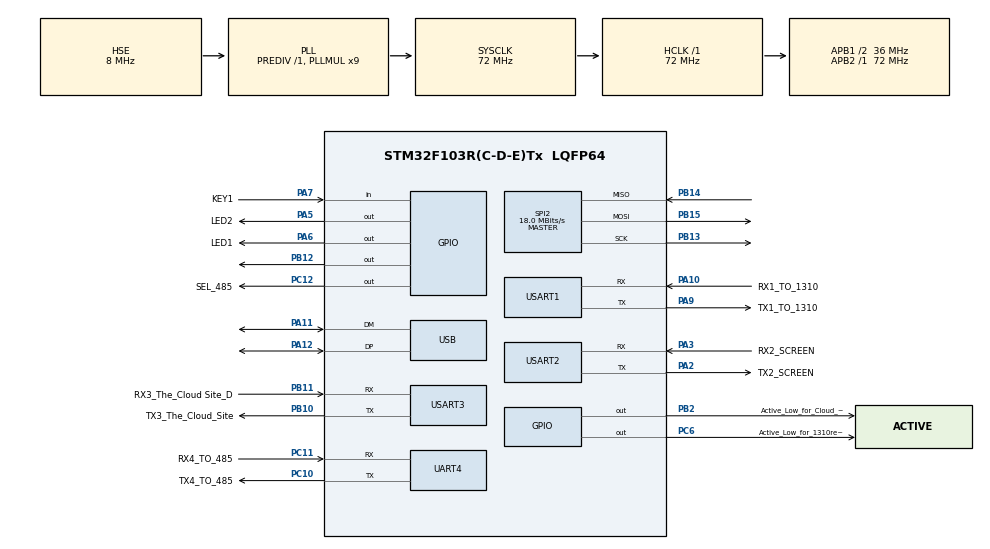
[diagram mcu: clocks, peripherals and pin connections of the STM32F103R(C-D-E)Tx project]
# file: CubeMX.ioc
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Dma.Request0=USART1_RX
Dma.Request1=USART1_TX
Dma.Request2=USART3_RX
Dma.Request3=USART3_TX
Dma.Request4=USART2_RX
Dma.Request5=USART2_TX
Dma.USART1_RX.0.Direction=DMA_PERIPH_TO_MEMORY
Dma.USART1_RX.0.Instance=DMA1_Channel5
Dma.USART1_RX.0.MemDataAlignment=DMA_MDATAALIGN_BYTE
Dma.USART1_RX.0.MemInc=DMA_MINC_ENABLE
Dma.USART1_RX.0.Mode=DMA_NORMAL
Dma.USART1_RX.0.PeriphDataAlignment=DMA_PDATAALIGN_BYTE
Dma.USART1_RX.0.PeriphInc=DMA_PINC_DISABLE
Dma.USART1_RX.0.Priority=DMA_PRIORITY_MEDIUM
Dma.USART1_TX.1.Direction=DMA_MEMORY_TO_PERIPH
Dma.USART1_TX.1.Instance=DMA1_Channel4
Dma.USART1_TX.1.MemDataAlignment=DMA_MDATAALIGN_BYTE
Dma.USART1_TX.1.MemInc=DMA_MINC_ENABLE
Dma.USART1_TX.1.Mode=DMA_NORMAL
Dma.USART1_TX.1.PeriphDataAlignment=DMA_PDATAALIGN_BYTE
Dma.USART1_TX.1.PeriphInc=DMA_PINC_DISABLE
Dma.USART1_TX.1.Priority=DMA_PRIORITY_MEDIUM
Dma.USART2_RX.4.Direction=DMA_PERIPH_TO_MEMORY
Dma.USART2_RX.4.Instance=DMA1_Channel6
Dma.USART2_RX.4.MemDataAlignment=DMA_MDATAALIGN_BYTE
Dma.USART2_RX.4.MemInc=DMA_MINC_ENABLE
Dma.USART2_RX.4.Mode=DMA_NORMAL
Dma.USART2_RX.4.PeriphDataAlignment=DMA_PDATAALIGN_BYTE
Dma.USART2_RX.4.PeriphInc=DMA_PINC_DISABLE
Dma.USART2_RX.4.Priority=DMA_PRIORITY_HIGH
Dma.USART2_TX.5.Direction=DMA_MEMORY_TO_PERIPH
Dma.USART2_TX.5.Instance=DMA1_Channel7
Dma.USART2_TX.5.MemDataAlignment=DMA_MDATAALIGN_BYTE
Dma.USART2_TX.5.MemInc=DMA_MINC_ENABLE
Dma.USART2_TX.5.Mode=DMA_NORMAL
Dma.USART2_TX.5.PeriphDataAlignment=DMA_PDATAALIGN_BYTE
Dma.USART2_TX.5.PeriphInc=DMA_PINC_DISABLE
Dma.USART2_TX.5.Priority=DMA_PRIORITY_HIGH
Dma.USART3_RX.2.Direction=DMA_PERIPH_TO_MEMORY
Dma.USART3_RX.2.Instance=DMA1_Channel3
Dma.USART3_RX.2.MemDataAlignment=DMA_MDATAALIGN_BYTE
Dma.USART3_RX.2.MemInc=DMA_MINC_ENABLE
Dma.USART3_RX.2.Mode=DMA_NORMAL
Dma.USART3_RX.2.PeriphDataAlignment=DMA_PDATAALIGN_BYTE
Dma.USART3_RX.2.PeriphInc=DMA_PINC_DISABLE
Dma.USART3_RX.2.Priority=DMA_PRIORITY_LOW
Dma.USART3_TX.3.Direction=DMA_MEMORY_TO_PERIPH
Dma.USART3_TX.3.Instance=DMA1_Channel2
Dma.USART3_TX.3.MemDataAlignment=DMA_MDATAALIGN_BYTE
Dma.USART3_TX.3.MemInc=DMA_MINC_ENABLE
Dma.USART3_TX.3.Mode=DMA_NORMAL
Dma.USART3_TX.3.PeriphDataAlignment=DMA_PDATAALIGN_BYTE
Dma.USART3_TX.3.PeriphInc=DMA_PINC_DISABLE
Dma.USART3_TX.3.Priority=DMA_PRIORITY_LOW
FATFS._MAX_SS=4096
FATFS._MIN_SS=512
FATFS._VOLUMES=1
FREERTOS.Tasks01=IWDG,2,128,Start_IWDG,Default,NULL,Dynamic,NULL,NULL;SCREEN_OPT,3,128,Start_Screen_Opt,Default,NULL,Dynamic,NULL,NULL;SX1310_OPT,-3,128,Start_SX1310_Opt,Default,NULL,Dynamic,NULL,NULL;UPDATE_CLOUD,-3,128,Start_Update_Cloud,Default,NULL,Dynamic,NULL,NULL;RS485_OPT,-3,128,Start_RS485_Opt,Default,NULL,Dynamic,NULL,NULL;RTC_UPDATE,-3,128,Start_RTC_Update,Default,NULL,Dynamic,NULL,NULL
FREERTOS.configTOTAL_HEAP_SIZE=10240
IWDG.Prescaler=IWDG_PRESCALER_64
IWDG.Reload=625*6
Mcu.Family=STM32F1
Mcu.Name=STM32F103R(C-D-E)Tx
Mcu.Package=LQFP64
NVIC.DMA1_Channel2_IRQn=true\:5\:0\:false\:false\:true\:true\:false\:true
NVIC.DMA1_Channel3_IRQn=true\:5\:0\:false\:false\:true\:true\:false\:true
NVIC.DMA1_Channel4_IRQn=true\:5\:0\:false\:false\:true\:true\:false\:true
NVIC.DMA1_Channel5_IRQn=true\:5\:0\:false\:false\:true\:true\:false\:true
NVIC.DMA1_Channel6_IRQn=true\:5\:0\:false\:false\:true\:true\:false\:true
NVIC.DMA1_Channel7_IRQn=true\:5\:0\:false\:false\:true\:true\:false\:true
NVIC.PriorityGroup=NVIC_PRIORITYGROUP_4
NVIC.SPI2_IRQn=true\:5\:0\:false\:false\:true\:true\:true\:true
NVIC.TIM1_UP_IRQn=true\:0\:0\:false\:false\:true\:false\:false\:true
NVIC.TIM6_IRQn=true\:5\:0\:true\:false\:true\:true\:true\:true
NVIC.TimeBase=TIM1_UP_IRQn
NVIC.TimeBaseIP=TIM1
NVIC.UART4_IRQn=true\:5\:0\:false\:false\:true\:true\:true\:true
NVIC.USART1_IRQn=true\:5\:0\:false\:false\:true\:true\:true\:true
NVIC.USART2_IRQn=true\:5\:0\:false\:false\:true\:true\:true\:true
NVIC.USART3_IRQn=true\:5\:0\:false\:false\:true\:true\:true\:true
NVIC.USB_LP_CAN1_RX0_IRQn=true\:6\:0\:true\:false\:true\:true\:false\:true
PA10.GPIO_Label=RX1_TO_1310
PA10.Mode=Asynchronous
PA10.Signal=USART1_RX
PA11.Mode=Device
PA11.Signal=USB_DM
PA12.Mode=Device
PA12.Signal=USB_DP
PA13.Mode=Serial_Wire
PA13.Signal=SYS_JTMS-SWDIO
PA14.Mode=Serial_Wire
PA14.Signal=SYS_JTCK-SWCLK
PA2.GPIO_Label=TX2_SCREEN
PA2.Mode=Asynchronous
PA2.Signal=USART2_TX
PA3.GPIO_Label=RX2_SCREEN
PA3.Mode=Asynchronous
PA3.Signal=USART2_RX
PA5.GPIO_Label=LED2
PA5.Signal=GPIO_Output
PA6.GPIO_Label=LED1
PA6.Signal=GPIO_Output
PA7.GPIO_Label=KEY1
PA7.GPIO_PuPd=GPIO_PULLUP
PA7.Signal=GPIO_Input
PA9.GPIO_Label=TX1_TO_1310
PA9.Mode=Asynchronous
PA9.Signal=USART1_TX
PB10.GPIO_Label=TX3_The_Cloud_Site
PB10.Mode=Asynchronous
PB10.Signal=USART3_TX
PB11.GPIO_Label=RX3_The_Cloud Site_D
PB11.Mode=Asynchronous
PB11.Signal=USART3_RX
PB12.Signal=GPIO_Output
PB13.Mode=Full_Duplex_Master
PB13.Signal=SPI2_SCK
PB14.Mode=Full_Duplex_Master
PB14.Signal=SPI2_MISO
PB15.Mode=Full_Duplex_Master
PB15.Signal=SPI2_MOSI
PB2.GPIO_Label=Active_Low_for_Cloud_rest
PB2.Signal=GPIO_Output
PC10.GPIO_Label=TX4_TO_485
PC10.Mode=Asynchronous
PC10.Signal=UART4_TX
PC11.GPIO_Label=RX4_TO_485
PC11.Mode=Asynchronous
PC11.Signal=UART4_RX
PC12.GPIO_Label=SEL_485
PC12.Signal=GPIO_Output
PC14-OSC32_IN.Mode=LSE-External-Oscillator
PC14-OSC32_IN.Signal=RCC_OSC32_IN
PC15-OSC32_OUT.Mode=LSE-External-Oscillator
PC15-OSC32_OUT.Signal=RCC_OSC32_OUT
PC6.GPIO_Label=Active_Low_for_1310rest
PC6.Signal=GPIO_Output
PD0-OSC_IN.Mode=HSE-External-Oscillator
PD0-OSC_IN.Signal=RCC_OSC_IN
PD1-OSC_OUT.Mode=HSE-External-Oscillator
PD1-OSC_OUT.Signal=RCC_OSC_OUT
ProjectManager.HeapSize=0x1200
ProjectManager.StackSize=0x2000
ProjectManager.TargetToolchain=EWARM V8.32
RCC.AHBFreq_Value=72000000
RCC.APB1CLKDivider=RCC_HCLK_DIV2
RCC.APB1Freq_Value=36000000
RCC.APB1TimFreq_Value=72000000
RCC.APB2Freq_Value=72000000
RCC.APB2TimFreq_Value=72000000
RCC.EnbaleCSS=true
RCC.HCLKFreq_Value=72000000
RCC.PLLMUL=RCC_PLL_MUL9
RCC.PLLSourceVirtual=RCC_PLLSOURCE_HSE
RCC.RTCClockSelection=RCC_RTCCLKSOURCE_LSE
RCC.SYSCLKFreq_VALUE=72000000
RCC.SYSCLKSource=RCC_SYSCLKSOURCE_PLLCLK
RCC.USBFreq_Value=48000000
RCC.USBPrescaler=RCC_USBCLKSOURCE_PLL_DIV1_5
RTC.Format=RTC_FORMAT_BCD
SPI2.CLKPhase=SPI_PHASE_2EDGE
SPI2.CLKPolarity=SPI_POLARITY_HIGH
SPI2.CalculateBaudRate=18.0 MBits/s
SPI2.Direction=SPI_DIRECTION_2LINES
SPI2.Mode=SPI_MODE_MASTER
SPI2.VirtualType=VM_MASTER
TIM6.AutoReloadPreload=TIM_AUTORELOAD_PRELOAD_ENABLE
TIM6.Period=65535
TIM6.Prescaler=71
UART4.VirtualMode=Asynchronous
USART1.VirtualMode=VM_ASYNC
USART2.VirtualMode=VM_ASYNC
USART3.VirtualMode=VM_ASYNC
USB.low_power_enable=DISABLE
USB_DEVICE.CLASS_NAME_FS=MSC
USB_DEVICE.VirtualMode=Msc
USB_DEVICE.VirtualModeFS=Msc_FS
VP_FATFS_VS_Generic.Mode=User_defined
VP_FREERTOS_VS_CMSIS_V1.Mode=CMSIS_V1
VP_IWDG_VS_IWDG.Mode=IWDG_Activate
VP_RTC_VS_RTC_Activate.Mode=RTC_Enabled
VP_SYS_VS_tim1.Mode=TIM1
VP_TIM6_VS_ClockSourceINT.Mode=Enable_Timer
VP_USB_DEVICE_VS_USB_DEVICE_MSC_FS.Mode=MSC_FS
board=custom

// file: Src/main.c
/* USER CODE BEGIN Header */
/**
  ******************************************************************************
  * @file           : main.c
  * @brief          : Main program body
  ******************************************************************************
  * @attention
  *
  * <h2><center>&copy; Copyright (c) 2019 STMicroelectronics.
  * All rights reserved.</center></h2>
  *
  * This software component is licensed by ST under Ultimate Liberty license
  * SLA0044, the "License"; You may not use this file except in compliance with
  * the License. You may obtain a copy of the License at:
  *                             www.st.com/SLA0044
  *
  ******************************************************************************
  */
/* USER CODE END Header */

#include "main.h"
#include "cmsis_os.h"
#include "dma.h"
#include "fatfs.h"
#include "iwdg.h"
#include "rtc.h"
#include "spi.h"
#include "tim.h"
#include "usart.h"
#include "usb_device.h"
#include "gpio.h"

/* USER CODE BEGIN Includes */
#include "screen_com.h"
/* USER CODE END Includes */

void SystemClock_Config(void);
void MX_FREERTOS_Init(void);

int main(void)
{

  /* MCU Configuration--------------------------------------------------------*/

  /* Reset of all peripherals, Initializes the Flash interface and the Systick. */
  HAL_Init();

  /* Configure the system clock */
  SystemClock_Config();

  /* Initialize all configured peripherals */
  MX_GPIO_Init();
  MX_DMA_Init();
  MX_RTC_Init();
  MX_USART1_UART_Init();
  MX_USART2_UART_Init();
  MX_USART3_UART_Init();
  MX_UART4_Init();
  MX_SPI2_Init();
  //MX_IWDG_Init();
  MX_TIM6_Init();
  /* USER CODE BEGIN 2 */
    /* init code for USB_DEVICE */
  MX_USB_DEVICE_Init();

  /* init code for FATFS */
  MX_FATFS_Init();

  if(HAL_RTCEx_BKUPRead(&hrtc,RTC_BKP_DR5) != 0X6066)//是否第一次配置
  {
    RTC_Set_Time(9,27,40);	        /*设置时间 ,根据实际时间修改*/
    RTC_Set_Date(0,10,27,19);	/*设置日期*/
    HAL_RTCEx_BKUPWrite(&hrtc,RTC_BKP_DR5,0X6066);//标记已经初始化过了
  }
  else
  {
    RTC_MY_recoverDate();/*从后备区恢复日期*/
  }
  __HAL_UART_ENABLE_IT(&huart1,UART_IT_IDLE);   //打开空闲中断
    HAL_UART_Receive_DMA(&huart1, (uint8_t*)UART1_BUFF, UART1_BUFF_MAX);
  __HAL_UART_ENABLE_IT(&huart2,UART_IT_IDLE);   //打开空闲中断
  //__HAL_UART_ENABLE_IT(&huart2,UART_IT_RXNE); //打开接收中断
    HAL_UART_Receive_DMA(&huart2, (uint8_t*)UART2_BUFF, UART2_BUFF_MAX);
  __HAL_UART_ENABLE_IT(&huart3,UART_IT_IDLE);   //打开空闲中断
    HAL_UART_Receive_DMA(&huart3, (uint8_t*)UART3_BUFF, UART3_BUFF_MAX);
  __HAL_UART_ENABLE_IT(&huart4,UART_IT_IDLE);   //打开空闲中断
    HAL_UART_Receive_IT(&huart4,  (uint8_t*)UART4_BUFF, UART4_BUFF_MAX);
//   	while(f_mount(&USERFatFS, "0:", 1));
//	while( f_open(&USERFile, "0:123.txt", FA_OPEN_ALWAYS  | FA_WRITE));
//	while(f_write(&USERFile, fat, 6, &br));
//	f_close(&USERFile);

  /* USER CODE END 2 */

  /* Call init function for freertos objects (in freertos.c) */
  MX_FREERTOS_Init();

  /* Start scheduler */
  osKernelStart();

  /* We should never get here as control is now taken by the scheduler */

  /* Infinite loop */
  while (1)
  {

  }
}

void SystemClock_Config(void)
{
  RCC_OscInitTypeDef RCC_OscInitStruct = {0};
  RCC_ClkInitTypeDef RCC_ClkInitStruct = {0};
  RCC_PeriphCLKInitTypeDef PeriphClkInit = {0};

  /** Initializes the CPU, AHB and APB busses clocks
  */
  RCC_OscInitStruct.OscillatorType = RCC_OSCILLATORTYPE_LSI|RCC_OSCILLATORTYPE_HSE
                              |RCC_OSCILLATORTYPE_LSE;
  RCC_OscInitStruct.HSEState = RCC_HSE_ON;
  RCC_OscInitStruct.HSEPredivValue = RCC_HSE_PREDIV_DIV1;
  RCC_OscInitStruct.LSEState = RCC_LSE_ON;
  RCC_OscInitStruct.HSIState = RCC_HSI_ON;
  RCC_OscInitStruct.LSIState = RCC_LSI_ON;
  RCC_OscInitStruct.PLL.PLLState = RCC_PLL_ON;
  RCC_OscInitStruct.PLL.PLLSource = RCC_PLLSOURCE_HSE;
  RCC_OscInitStruct.PLL.PLLMUL = RCC_PLL_MUL9;
  if (HAL_RCC_OscConfig(&RCC_OscInitStruct) != HAL_OK)
  {
    Error_Handler();
  }
  /** Initializes the CPU, AHB and APB busses clocks
  */
  RCC_ClkInitStruct.ClockType = RCC_CLOCKTYPE_HCLK|RCC_CLOCKTYPE_SYSCLK
                              |RCC_CLOCKTYPE_PCLK1|RCC_CLOCKTYPE_PCLK2;
  RCC_ClkInitStruct.SYSCLKSource = RCC_SYSCLKSOURCE_PLLCLK;
  RCC_ClkInitStruct.AHBCLKDivider = RCC_SYSCLK_DIV1;
  RCC_ClkInitStruct.APB1CLKDivider = RCC_HCLK_DIV2;
  RCC_ClkInitStruct.APB2CLKDivider = RCC_HCLK_DIV1;

  if (HAL_RCC_ClockConfig(&RCC_ClkInitStruct, FLASH_LATENCY_2) != HAL_OK)
  {
    Error_Handler();
  }
  PeriphClkInit.PeriphClockSelection = RCC_PERIPHCLK_RTC|RCC_PERIPHCLK_USB;
  PeriphClkInit.RTCClockSelection = RCC_RTCCLKSOURCE_LSE;
  PeriphClkInit.UsbClockSelection = RCC_USBCLKSOURCE_PLL_DIV1_5;
  if (HAL_RCCEx_PeriphCLKConfig(&PeriphClkInit) != HAL_OK)
  {
    Error_Handler();
  }
  /** Enables the Clock Security System
  */
  HAL_RCC_EnableCSS();
}

/* USER CODE BEGIN 4 */
/*CRC16 效验*/
unsigned short Crc_Cal(unsigned short Data, unsigned short GenPoly, unsigned short CrcData)
{
	unsigned short TmpI;
	Data *= 2;
	for (TmpI = 8; TmpI > 0; TmpI--) {
		Data = Data / 2;
		if ((Data ^ CrcData) & 1)
			CrcData = (CrcData / 2) ^ GenPoly;
		else
			CrcData /= 2;
	}
	return CrcData;
}

unsigned short CRC_Return(unsigned char *Crc_Buf, unsigned char Crc_Len)
{
        unsigned short temp;
        unsigned short CRC_R = 0xFFFF;
        for (temp = 0; temp < Crc_Len; temp++)
        {
                CRC_R = Crc_Cal(Crc_Buf[temp], 0xA001, CRC_R);
        }
        return CRC_R;
}
/*
参考
STM32F030F4P6硬件配置： FLASH (16KB) RAM (4KB)
（包含4个扇区，1个扇区包含4个页，每页有1Kbyte空间）
*/
//  static FLASH_EraseInitTypeDef EraseInitStruct = {
//	.TypeErase = FLASH_TYPEERASE_PAGES,       //页擦除
//	.PageAddress = 0x0800F000,                //擦除地址
//	.NbPages = 1                              //擦除页数
//  };
//
//  HAL_FLASH_Unlock();
//  uint32_t PageError = 0;
//  __disable_irq();                             //擦除前关闭中断
//  if (HAL_FLASHEx_Erase(&EraseInitStruct,&PageError) == HAL_OK)
//  {
//      printf("擦除 成功\r\n");
//  }
//  __enable_irq();                             //擦除后打开中断
//  uint32_t writeFlashData = 0x55555555;        //待写入的值
//  uint32_t addr = 0x0800F000;                  //写入的地址
//  HAL_FLASH_Program(FLASH_TYPEPROGRAM_WORD,addr, writeFlashData);
//  printf("at address:0x%x, read value:0x%x\r\n", addr, *(__IO uint32_t*)addr);
//  HAL_FLASH_Lock();
/* USER CODE END 4 */

void HAL_TIM_PeriodElapsedCallback(TIM_HandleTypeDef *htim)
{
  if (htim->Instance == TIM1) {
    HAL_IncTick();
  }
}

void Error_Handler(void)
{
}

/************************ (C) COPYRIGHT STMicroelectronics *****END OF FILE****/

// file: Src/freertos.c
/* USER CODE BEGIN Header */
/**
  ******************************************************************************
  * File Name          : freertos.c
  * Description        : Code for freertos applications
  ******************************************************************************
  * @attention
  *
  * <h2><center>&copy; Copyright (c) 2019 STMicroelectronics.
  * All rights reserved.</center></h2>
  *
  * This software component is licensed by ST under Ultimate Liberty license
  * SLA0044, the "License"; You may not use this file except in compliance with
  * the License. You may obtain a copy of the License at:
  *                             www.st.com/SLA0044
  *
  ******************************************************************************
  */
/* USER CODE END Header */

#include "FreeRTOS.h"
#include "task.h"
#include "main.h"
#include "cmsis_os.h"

/* USER CODE BEGIN Includes */
#include "iwdg.h"
#include "screen_com.h"
#include "cc1310_com.h"
#include "rs485_opt.h"
#include "CircularQueue.h"
#include "rtc.h"
#include "spi.h"
//#include "flash_opt.h"
#include "W25Qxx.h"
#include "ff.h"
#include "fatfs.h"
/* USER CODE END Includes */

/* USER CODE BEGIN PD */
#define W25Q16_CS_LOW()       HAL_GPIO_WritePin(GPIOB, GPIO_PIN_12, GPIO_PIN_RESET);
#define W25Q16_CS_HIGH()      HAL_GPIO_WritePin(GPIOB, GPIO_PIN_12, GPIO_PIN_SET);
/* USER CODE END PD */

/* USER CODE BEGIN Variables */
  SemaphoreHandle_t xSemaphore = NULL;      /* 互斥信号量句柄 */
UINT br;
char fat[6] ={ '1','2','3','4','5','6'};

/* USER CODE END Variables */
osThreadId IWDGHandle;
osThreadId SCREEN_OPTHandle;
osThreadId SX1310_OPTHandle;
osThreadId UPDATE_CLOUDHandle;
osThreadId RS485_OPTHandle;
osThreadId RTC_UPDATEHandle;

/* USER CODE BEGIN FunctionPrototypes */
void get_resert_status(void);
/* USER CODE END FunctionPrototypes */

void Start_IWDG(void const * argument);
void Start_Screen_Opt(void const * argument);
void Start_SX1310_Opt(void const * argument);
void Start_Update_Cloud(void const * argument);
void Start_RS485_Opt(void const * argument);
void Start_RTC_Update(void const * argument);

extern void MX_USB_DEVICE_Init(void);
extern void MX_FATFS_Init(void);
void MX_FREERTOS_Init(void); /* (MISRA C 2004 rule 8.1) */

/* GetIdleTaskMemory prototype (linked to static allocation support) */
void vApplicationGetIdleTaskMemory( StaticTask_t **ppxIdleTaskTCBBuffer, StackType_t **ppxIdleTaskStackBuffer, uint32_t *pulIdleTaskStackSize );

/* USER CODE BEGIN GET_IDLE_TASK_MEMORY */
static StaticTask_t xIdleTaskTCBBuffer;
static StackType_t xIdleStack[configMINIMAL_STACK_SIZE];

void vApplicationGetIdleTaskMemory( StaticTask_t **ppxIdleTaskTCBBuffer, StackType_t **ppxIdleTaskStackBuffer, uint32_t *pulIdleTaskStackSize )
{
  *ppxIdleTaskTCBBuffer = &xIdleTaskTCBBuffer;
  *ppxIdleTaskStackBuffer = &xIdleStack[0];
  *pulIdleTaskStackSize = configMINIMAL_STACK_SIZE;
  /* place for user code */
}
/* USER CODE END GET_IDLE_TASK_MEMORY */

void MX_FREERTOS_Init(void) {

  /* USER CODE BEGIN RTOS_MUTEX */
  /* add mutexes, ... */

  xSemaphore = xSemaphoreCreateMutex();   /* 创建互斥信号量 */
  /* USER CODE END RTOS_MUTEX */

  /* Create the thread(s) */
  /* definition and creation of IWDG */
  osThreadDef(IWDG, Start_IWDG, osPriorityHigh, 0, 128);
  IWDGHandle = osThreadCreate(osThread(IWDG), NULL);

  /* definition and creation of SCREEN_OPT */
  osThreadDef(SCREEN_OPT, Start_Screen_Opt, osPriorityRealtime, 0, 128);
  SCREEN_OPTHandle = osThreadCreate(osThread(SCREEN_OPT), NULL);

  /* definition and creation of SX1310_OPT */
  osThreadDef(SX1310_OPT, Start_SX1310_Opt, osPriorityIdle, 0, 128);
  SX1310_OPTHandle = osThreadCreate(osThread(SX1310_OPT), NULL);

  /* definition and creation of UPDATE_CLOUD */
  osThreadDef(UPDATE_CLOUD, Start_Update_Cloud, osPriorityIdle, 0, 128);
  UPDATE_CLOUDHandle = osThreadCreate(osThread(UPDATE_CLOUD), NULL);

  /* definition and creation of RS485_OPT */
  osThreadDef(RS485_OPT, Start_RS485_Opt, osPriorityIdle, 0, 128);
  RS485_OPTHandle = osThreadCreate(osThread(RS485_OPT), NULL);

  /* definition and creation of RTC_UPDATE */
  osThreadDef(RTC_UPDATE, Start_RTC_Update, osPriorityIdle, 0, 128);
  RTC_UPDATEHandle = osThreadCreate(osThread(RTC_UPDATE), NULL);

}

void Start_IWDG(void const * argument)
{
  /* init code for USB_DEVICE */
  MX_USB_DEVICE_Init();

  /* init code for FATFS */
  MX_FATFS_Init();
  /* USER CODE BEGIN Start_IWDG */
//  while(f_mount(&USERFatFS, "0:", 1));
//  while( f_open(&USERFile, "0:123.txt", FA_OPEN_ALWAYS  | FA_WRITE));
//  while(f_write(&USERFile, fat, 6, &br));
//  f_close(&USERFile);

//  f_mount(&USERFatFS, "0:", 1);
//  f_open(&USERFile, "0:新建文本文档.txt", FA_OPEN_ALWAYS | FA_CREATE_NEW | FA_WRITE);
//  f_write(&USERFile, fat, 6, &br);
//  f_close(&USERFile);
  /* Infinite loop */
  for(;;)
  {
    //HAL_IWDG_Refresh(&hiwdg);
    HAL_GPIO_TogglePin(GPIOA, GPIO_PIN_5);//RED-LED IS RUNNING
    osDelay(2000);
    if(0 == HAL_GPIO_ReadPin(GPIOA, GPIO_PIN_7))//读取复位键，active low for reset
    {
      /*从SYSRESETREQ 被置为有效，到复位发生器执行复位命令，往往会有一个延时。
        在此延时期间，处理器仍然可以响应中断请求。但我们的本意往往是要让此次执行到此为止，
        不要再做任何其它事情了。所以，最好在发出复位请求前，先把FAULTMASK 置位。*/
      __set_FAULTMASK(1); //关闭所有中断
      get_resert_status();
      NVIC_SystemReset();
    }
  }
  /* USER CODE END Start_IWDG */
}

void Start_Screen_Opt(void const * argument)
{
  /* USER CODE BEGIN Start_Screen_Opt */
  /* Infinite loop */
  CQ_init( &screen_circ,(uint8_t *)screen_rx_buff, SCREEN_RX_BUF_MAX);

  uint8_t mcuid_lock = 0;
  for(;;)
  {
      xSemaphoreTake( xSemaphore, portMAX_DELAY );
	  screen_main_opt();//获取最新指令
      switch(screen_pageid_CURRENT)
      {
        case MAIN_SCREEN:
          mcuid_lock = 0;
          //Get_Date_Time();/*独立线程1s更新*/
          break;
        case MENU_SCREEN:
          mcuid_lock = 0;
          break;
        case NODE1_SCREEN:
          mcuid_lock = 0;
          break;
        case NODE2_SCREEN:
          mcuid_lock = 0;
          break;
        case NODE3_SCREEN:
          mcuid_lock = 0;
          break;
        case NODE4_SCREEN:
          mcuid_lock = 0;
          break;
        case ALMSET_SCREEN:
          mcuid_lock = 0;
          break;
        case PROPERTY_SCREEN:
          if(mcuid_lock == 0)
          {
            Get_MCUUID();
            mcuid_lock = 1;
          }
          break;
        case ALARM_SCREEN:
          mcuid_lock = 0;
          break;
        case CLOCK_SCREEN:
          mcuid_lock = 0;
          break;
        default:
          NVIC_SystemReset();/*故障复位*/
          break;
      }
      HAL_GPIO_TogglePin(GPIOA, GPIO_PIN_6);//GREEN-LED IS RUNNING
      xSemaphoreGive( xSemaphore );
	  osDelay(200);

  }
  /* USER CODE END Start_Screen_Opt */
}

void Start_SX1310_Opt(void const * argument)
{
  /* USER CODE BEGIN Start_SX1310_Opt */
  CC1310_Opt_init();
  CQ_init( &cc1310_circ,(uint8_t *)CC1310_RX_BUF, CC1310_RX_BUF_MAX);
  /* Infinite loop */
  for(;;)
  {
    xSemaphoreTake( xSemaphore, portMAX_DELAY );
    CC1310_Opt_Loop();
    xSemaphoreGive( xSemaphore );
    osDelay(200);
  }
  /* USER CODE END Start_SX1310_Opt */
}

void Start_Update_Cloud(void const * argument)
{
  for(;;)
  {
    osDelay(1);
  }
}

void Start_RS485_Opt(void const * argument)
{
  /* USER CODE BEGIN Start_RS485_Opt */
  //SPI_Flash_Wait_Busy();
//  W25Q16_Init();
//  uint8_t para[40] = {"hello,world!"};
//  para[0] = 0xEE;
//  uint8_t read_buf[40] = {0};
//  SPI_Flash_Wait_Busy();
//  SPI_FLASH_SectorErase(0x0U);
//  printf("擦除中。。。\r");
//  SPI_FLASH_BufferWrite((uint8_t*) para, 0x0U,40);
//  W25Q16_CS_HIGH();
//  printf("已写入。。。\r");
//  W25Q16_CS_LOW();
//  SPI_Flash_Read((uint8_t*) read_buf, 0x0U,40);
//  printf("读出：%02x\r",read_buf[0]);

  /* Infinite loop */
  for(;;)
  {
    //SPI_Flash_ReadID();
    osDelay(200);
  }
  /* USER CODE END Start_RS485_Opt */
}

void Start_RTC_Update(void const * argument)
{
  /* USER CODE BEGIN Start_RTC_Update */
  /* Infinite loop */
  /*
 uint16_t temp=GPIOx->IDR;//读16个IO到temp     用寄存器，so easy了。

*/
  char current_time[64] = {0};
  for(;;)
  {
    if(screen_pageid_CURRENT == MAIN_SCREEN)
    {
      Get_Date_Time();/*周期1s获取*/
//      switch(current_date_time.WeekDay)
//      {
//      case 1:
//        sprintf(screen_weekday,"一");
//        break;
//      case 2:
//        sprintf(screen_weekday,"二");
//        break;
//      case 3:
//        sprintf(screen_weekday,"三");
//        break;
//      case 4:
//        sprintf(screen_weekday,"四");
//        break;
//      case 5:
//        sprintf(screen_weekday,"五");
//        break;
//      case 6:
//        sprintf(screen_weekday,"六");
//        break;
//      case 0:
//        sprintf(screen_weekday,"日");
//        break;
//      default:
//        break;
//      }
      sprintf(current_time,"g0.txt=\"%u-%02u-%02u %02u:%02u:%02u\"",current_date_time.year,current_date_time.month,current_date_time.day,current_date_time.hour,current_date_time.minute,current_date_time.Seconds);
//      HAL_UART_Transmit_DMA(&huart2,(uint8_t *)current_time,strlen(current_time));
//      osDelay(4);
//      HAL_UART_Transmit_DMA(&huart2,(uint8_t*)screen_EOF_TxBuf,strlen((char const*)screen_EOF_TxBuf));
      HAL_UART_Transmit(&huart2,(uint8_t*)current_time,strlen(current_time),0x400);//优先阻塞式选择带超时，保证一定时间内发送出去
      HAL_UART_Transmit(&huart2,(uint8_t*)screen_EOF_TxBuf,strlen((char const*)screen_EOF_TxBuf),0x400);
      osDelay(1000);
    }
  }
  /* USER CODE END Start_RTC_Update */
}

/* USER CODE BEGIN Application */
#ifndef LPWRRSTF
#define LPWRRSTF 0x80000000U/*31位低功耗复位标志*/
#endif
#ifndef WWDGRSTF
#define WWDGRSTF 0x40000000U/*30位窗口看门狗复位标志*/
#endif
#ifndef IWDGRSTF
#define IWDGRSTF 0x20000000U/*29位独立看门狗复位标志*/
#endif
#ifndef SFTRSTF
#define SFTRSTF  0x10000000U/*28位软件复位标志*/
#endif
#ifndef PORRSTF
#define PORRSTF  0x08000000U/*27位上电/掉电复位标志*/
#endif
#ifndef PINRSTF
#define PINRSTF  0x04000000U/*26位NRST引脚复位标志*/
#endif
#ifndef NOTHING
#define NOTHING  0x02000000U/*25位保留，读操作返回0*/
#endif
#ifndef RMVF
#define RMVF     0x01000000U/*24位清除复位标志*/
#endif

void get_resert_status(void)
{
                                                                                //     if(__HAL_RCC_GET_FLAG(RCC_FLAG_OBLRST)) //选项字节重载复位
                                                                                //     printf("RCC_FLAG_OBLRST reset");

  /***************************************************参考STM32中文参考手册7.1章节复位******************************************/
//      if( READ_BIT(RCC->CSR, RCC_CSR_FWRSTF) != RESET)
//    {
//        HAL_UART_Transmit(&huart2,"硬件原因复位\n",strlen("硬件原因复位\n"),0x400);
//    }
//    if( READ_BIT(RCC->CSR, RCC_CSR_OBLRSTF) != RESET)
//    {
//        HAL_UART_Transmit(&huart2,"保护字节复位\n",strlen("保护字节复位\n"),0x400);
//    }
    if( READ_BIT(RCC->CSR, PINRSTF) != RESET)
    {
        HAL_UART_Transmit(&huart2,"复位按键复位\n",strlen("复位按键复位\n"),0x400);
    }
    if( READ_BIT(RCC->CSR, PORRSTF) != RESET)
    {
        HAL_UART_Transmit(&huart2,"低于电压阈值复位\n",strlen("低于电压阈值复位\n"),0x400);
    }
    if( READ_BIT(RCC->CSR, SFTRSTF) != RESET)
    {
        HAL_UART_Transmit(&huart2,"软件复位\n",strlen("软件复位\n"),0x400);
    }
    if( READ_BIT(RCC->CSR, IWDGRSTF) != RESET)
    {
        HAL_UART_Transmit(&huart2,"内置看门狗复位\n",strlen("内置看门狗复位\n"),0x400);
    }
    if( READ_BIT(RCC->CSR, WWDGRSTF) != RESET)
    {
        HAL_UART_Transmit(&huart2,"外置看门狗复位\n",strlen("外置看门狗复位\n"),0x400);
    }
    if( READ_BIT(RCC->CSR, LPWRRSTF) != RESET)
    {
        HAL_UART_Transmit(&huart2,"低功耗非法模式复位\n",strlen("低功耗非法模式复位\n"),0x400);
    }
  /********************************************************************************************************/

//    if( READ_BIT(RCC->CSR, RCC_CSR_FWRSTF) != RESET)
//    {
//        HAL_UART_Transmit(&huart2,"硬件原因复位\n",strlen("硬件原因复位\n"),0x400);
//    }
//    if( READ_BIT(RCC->CSR, RCC_CSR_OBLRSTF) != RESET)
//    {
//        HAL_UART_Transmit(&huart2,"保护字节复位\n",strlen("保护字节复位\n"),0x400);
//    }
//    if( READ_BIT(RCC->CSR, RCC_CSR_PINRSTF) != RESET)
//    {
//        HAL_UART_Transmit(&huart2,"复位按键复位\n",strlen("复位按键复位\n"),0x400);
//    }
//    if( READ_BIT(RCC->CSR, RCC_CSR_BORRSTF) != RESET)
//    {
//        HAL_UART_Transmit(&huart2,"低于电压阈值复位\n",strlen("低于电压阈值复位\n"),0x400);
//    }
//    if( READ_BIT(RCC->CSR, RCC_CSR_SFTRSTF) != RESET)
//    {
//        HAL_UART_Transmit(&huart2,"软件复位\n",strlen("软件复位\n"),0x400);
//    }
//    if( READ_BIT(RCC->CSR, RCC_CSR_IWDGRSTF) != RESET)
//    {
//        HAL_UART_Transmit(&huart2,"内置看门狗复位\n",strlen("内置看门狗复位\n"),0x400);
//    }
//    if( READ_BIT(RCC->CSR, RCC_CSR_WWDGRSTF) != RESET)
//    {
//        HAL_UART_Transmit(&huart2,"外置看门狗复位\n",strlen("外置看门狗复位\n"),0x400);
//    }
//    if( READ_BIT(RCC->CSR, RCC_CSR_LPWRRSTF) != RESET)
//    {
//        HAL_UART_Transmit(&huart2,"低功耗非法模式复位\n",strlen("低功耗非法模式复位\n"),0x400);
//    }
    __HAL_RCC_CLEAR_RESET_FLAGS();
}

/* USER CODE END Application */

/************************ (C) COPYRIGHT STMicroelectronics *****END OF FILE****/
